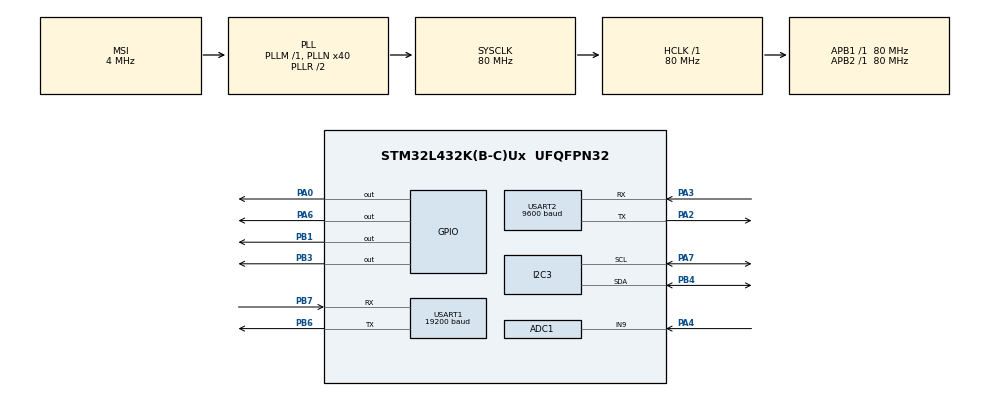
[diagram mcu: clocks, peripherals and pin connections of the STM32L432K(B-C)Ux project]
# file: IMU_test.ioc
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ADC1.Channel-0\#ChannelRegularConversion=ADC_CHANNEL_9
ADC1.NbrOfConversionFlag=1
ADC1.OffsetNumber-0\#ChannelRegularConversion=ADC_OFFSET_NONE
ADC1.Rank-0\#ChannelRegularConversion=1
ADC1.SamplingTime-0\#ChannelRegularConversion=ADC_SAMPLETIME_2CYCLES_5
ADC1.master=1
I2C3.Timing=0x10909CEC
Mcu.Family=STM32L4
Mcu.Name=STM32L432K(B-C)Ux
Mcu.Package=UFQFPN32
NVIC.PriorityGroup=NVIC_PRIORITYGROUP_4
PA0.Signal=GPIO_Output
PA13\ (JTMS-SWDIO).Mode=Serial_Wire
PA13\ (JTMS-SWDIO).Signal=SYS_JTMS-SWDIO
PA14\ (JTCK-SWCLK).Mode=Serial_Wire
PA14\ (JTCK-SWCLK).Signal=SYS_JTCK-SWCLK
PA2.Mode=Asynchronous
PA2.Signal=USART2_TX
PA3.Mode=Asynchronous
PA3.Signal=USART2_RX
PA4.Signal=ADCx_IN9
PA6.Signal=GPIO_Output
PA7.Mode=I2C
PA7.Signal=I2C3_SCL
PB1.Signal=GPIO_Output
PB3\ (JTDO-TRACESWO).Signal=GPIO_Output
PB4\ (NJTRST).Mode=I2C
PB4\ (NJTRST).Signal=I2C3_SDA
PB6.Mode=Asynchronous
PB6.Signal=USART1_TX
PB7.Mode=Asynchronous
PB7.Signal=USART1_RX
PC14-OSC32_IN\ (PC14).Mode=LSE-External-Oscillator
PC14-OSC32_IN\ (PC14).Signal=RCC_OSC32_IN
PC15-OSC32_OUT\ (PC15).Mode=LSE-External-Oscillator
PC15-OSC32_OUT\ (PC15).Signal=RCC_OSC32_OUT
ProjectManager.HeapSize=0x200
ProjectManager.StackSize=0x400
ProjectManager.TargetToolchain=MDK-ARM V5
RCC.ADCFreq_Value=32000000
RCC.AHBFreq_Value=80000000
RCC.APB1Freq_Value=80000000
RCC.APB1TimFreq_Value=80000000
RCC.APB2Freq_Value=80000000
RCC.APB2TimFreq_Value=80000000
RCC.CortexFreq_Value=80000000
RCC.HCLKFreq_Value=80000000
RCC.HSE_VALUE=8000000
RCC.HSI48_VALUE=48000000
RCC.HSI_VALUE=16000000
RCC.MSI_VALUE=4000000
RCC.PLLN=40
RCC.PLLSAI1N=16
RCC.SYSCLKFreq_VALUE=80000000
RCC.SYSCLKSource=RCC_SYSCLKSOURCE_PLLCLK
RCC.USBFreq_Value=32000000
RCC.VCOOutputFreq_Value=160000000
SH.ADCx_IN9.0=ADC1_IN9,IN9-Single-Ended
USART1.BaudRate=19200
USART1.VirtualMode-Asynchronous=VM_ASYNC
USART2.BaudRate=9600
USART2.VirtualMode-Asynchronous=VM_ASYNC
board=custom

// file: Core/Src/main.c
/* USER CODE BEGIN Header */
/**
  ******************************************************************************
  * @file           : main.c
  * @brief          : Main program body
  ******************************************************************************
  * @attention
  *
  * <h2><center>&copy; Copyright (c) 2021 STMicroelectronics.
  * All rights reserved.</center></h2>
  *
  * This software component is licensed by ST under BSD 3-Clause license,
  * the "License"; You may not use this file except in compliance with the
  * License. You may obtain a copy of the License at:
  *                        opensource.org/licenses/BSD-3-Clause
  *
  ******************************************************************************
  */
/* USER CODE END Header */
#include "main.h"
#include "adc.h"
#include "i2c.h"
#include "usart.h"
#include "gpio.h"

/* USER CODE BEGIN Includes */
#include "bno055_stm32.h" //ADD THE PATH FOR THIS FILE IN THE "INCLUDES" FROM THE "OPTIONS FOR TARGET" ICON
//ALSO ADD THE FILE "bno055.c" TO THE TARGET FILES "Application/user/core" LIKE WHEN ADDING A NEW CPP FILE

/* USER CODE END Includes */

/* USER CODE BEGIN PV */

uint8_t endl[2] ={'\r' , '\n'};
uint16_t raw, flex;
char msg[10];
char disp1[64];
char disp2[64];
uint8_t arr[4]={0xC2, 0x32, 0xCA, 0x32};
double roll, pitch;

/* USER CODE END PV */

void SystemClock_Config(void);
/* USER CODE BEGIN PFP */
uint16_t read_flex();
bno055_vector_t read_imu();

/* USER CODE END PFP */

/* USER CODE BEGIN 0 */

uint16_t read_flex()
{
		// Test: Set GPIO pin high
    HAL_GPIO_WritePin(GPIOA, GPIO_PIN_4, GPIO_PIN_SET);

    // Get ADC value
    HAL_ADC_Start(&hadc1);
    HAL_ADC_PollForConversion(&hadc1, HAL_MAX_DELAY);
    raw = HAL_ADC_GetValue(&hadc1);

    // Test: Set GPIO pin low
    HAL_GPIO_WritePin(GPIOA, GPIO_PIN_4, GPIO_PIN_RESET);

    // Convert to string and print
    snprintf(msg, sizeof(msg), "%d", raw);
    HAL_UART_Transmit(&huart2, (unsigned char *)msg, sizeof(msg), HAL_MAX_DELAY);
		HAL_UART_Transmit(&huart2, (unsigned char *)endl, 2, HAL_MAX_DELAY);
		return raw;
}

bno055_vector_t read_imu()
{
	bno055_vector_t c = bno055_getVectorEuler();
  snprintf(disp1, sizeof(disp1), "Heading: %.2f Roll: %.2f Pitch: %.2f\r\n", c.x, c.y, c.z);
	HAL_UART_Transmit(&huart2, (uint8_t*)disp1, sizeof(disp1), HAL_MAX_DELAY);
	HAL_UART_Transmit(&huart2, (unsigned char *)endl, 2, HAL_MAX_DELAY);
	return c;
}

/* USER CODE END 0 */

int main(void)
{

  /* MCU Configuration--------------------------------------------------------*/

  /* Reset of all peripherals, Initializes the Flash interface and the Systick. */
  HAL_Init();

  /* Configure the system clock */
  SystemClock_Config();

  /* Initialize all configured peripherals */
  MX_GPIO_Init();
  MX_USART2_UART_Init();
  MX_ADC1_Init();
  MX_USART1_UART_Init();
  MX_I2C3_Init();

  /* USER CODE BEGIN 2 */
	bno055_assignI2C(&hi2c3);
  bno055_setup();
  bno055_setOperationModeNDOF();
  /* USER CODE END 2 */

  /* Infinite loop */
  /* USER CODE BEGIN WHILE */
  while (1)
  {
		flex = read_flex();
		bno055_vector_t v = read_imu();
		roll = v.y;
    pitch = v.z;
		if (flex<2000)
		{
			if (v.y>5)  //going forward
			{
				HAL_GPIO_TogglePin(GPIOA, GPIO_PIN_0);
				HAL_Delay(v.y*2);
				HAL_GPIO_TogglePin(GPIOA, GPIO_PIN_0);
				snprintf(disp2, sizeof(disp2), "FRONT");
				arr[0]=0xC2;
				arr[2]=0xCA;
				arr[1]=(roll/180.0)*127;
				arr[3]=(roll/180.0)*127;
				HAL_UART_Transmit (&huart1, arr, 4,HAL_MAX_DELAY);
				HAL_Delay(200);
				HAL_UART_Transmit(&huart2, (uint8_t*)disp2, sizeof(disp2), HAL_MAX_DELAY);
				HAL_UART_Transmit(&huart2, (unsigned char *)endl, 2, HAL_MAX_DELAY);

			}
			if (v.y<-5)  //going backwards
			{
				HAL_GPIO_TogglePin(GPIOB, GPIO_PIN_3);
				HAL_Delay(v.y*2);
				HAL_GPIO_TogglePin(GPIOB, GPIO_PIN_3);
				snprintf(disp2, sizeof(disp2), "BACK");
				arr[0]=0xC1;
				arr[2]=0xC9;
				arr[1]=(-roll/180.0)*127;
				arr[3]=(-roll/180.0)*127;
				HAL_UART_Transmit (&huart1, arr, 4,HAL_MAX_DELAY);
				HAL_Delay(200);
				HAL_UART_Transmit(&huart2, (uint8_t*)disp2, sizeof(disp2), HAL_MAX_DELAY);
				HAL_UART_Transmit(&huart2, (unsigned char *)endl, 2, HAL_MAX_DELAY);
				//HAL_Delay(200);
			}
			if (v.z>5)  //right turn
			{
				HAL_GPIO_TogglePin(GPIOB, GPIO_PIN_1);
				HAL_Delay(v.z*2);
				HAL_GPIO_TogglePin(GPIOB, GPIO_PIN_1);
				snprintf(disp2, sizeof(disp2), "RIGHT");
				arr[1]=0x00;
				arr[3]=pitch;
				HAL_UART_Transmit (&huart1, arr, 4,HAL_MAX_DELAY);
				HAL_Delay(200);
				HAL_UART_Transmit(&huart2, (uint8_t*)disp2, sizeof(disp2), HAL_MAX_DELAY);
				HAL_UART_Transmit(&huart2, (unsigned char *)endl, 2, HAL_MAX_DELAY);
				//HAL_Delay(200);
			}
			if (v.z<-5)  //left turn
			{
				HAL_GPIO_TogglePin(GPIOA, GPIO_PIN_6);
				HAL_Delay(v.z*2);
				HAL_GPIO_TogglePin(GPIOA, GPIO_PIN_6);
				snprintf(disp2, sizeof(disp2), "LEFT");
				arr[1]=pitch;
				arr[3]=0x00;
				HAL_UART_Transmit (&huart1, arr, 4,HAL_MAX_DELAY);
				HAL_Delay(200);
				HAL_UART_Transmit(&huart2, (uint8_t*)disp2, sizeof(disp2), HAL_MAX_DELAY);
				HAL_UART_Transmit(&huart2, (unsigned char *)endl, 2, HAL_MAX_DELAY);
				//HAL_Delay(200);
			}
		}
		else
		{
			snprintf(disp2, sizeof(disp2), "STOP");
			arr[1]=0x00;
      arr[3]=0x00;
      HAL_UART_Transmit (&huart1, arr, 4,HAL_MAX_DELAY);
			HAL_Delay(200);
			HAL_UART_Transmit(&huart2, (uint8_t*)disp2, sizeof(disp2), HAL_MAX_DELAY);
			HAL_UART_Transmit(&huart2, (unsigned char *)endl, 2, HAL_MAX_DELAY);
			//HAL_Delay(200);
		}

    /* USER CODE END WHILE */

    /* USER CODE BEGIN 3 */
  }

	//COMMENTED LOCALISATION CODE

	//    v = bno055_getVectorQuaternion();
//    snprintf(disp2, sizeof(disp2), "W: %.2f X: %.2f Y: %.2f Z: %.2f\r\n", v.w, v.x, v.y, v.z);
//		HAL_UART_Transmit(&huart2, (uint8_t*)disp2, sizeof(disp2), HAL_MAX_DELAY);
//		HAL_UART_Transmit(&huart2, (unsigned char *)endl, 2, HAL_MAX_DELAY);
  /* USER CODE END 3 */
}

void SystemClock_Config(void)
{
  RCC_OscInitTypeDef RCC_OscInitStruct = {0};
  RCC_ClkInitTypeDef RCC_ClkInitStruct = {0};
  RCC_PeriphCLKInitTypeDef PeriphClkInit = {0};

  /** Configure LSE Drive Capability
  */
  HAL_PWR_EnableBkUpAccess();
  __HAL_RCC_LSEDRIVE_CONFIG(RCC_LSEDRIVE_LOW);
  /** Initializes the RCC Oscillators according to the specified parameters
  * in the RCC_OscInitTypeDef structure.
  */
  RCC_OscInitStruct.OscillatorType = RCC_OSCILLATORTYPE_LSE|RCC_OSCILLATORTYPE_MSI;
  RCC_OscInitStruct.LSEState = RCC_LSE_ON;
  RCC_OscInitStruct.MSIState = RCC_MSI_ON;
  RCC_OscInitStruct.MSICalibrationValue = 0;
  RCC_OscInitStruct.MSIClockRange = RCC_MSIRANGE_6;
  RCC_OscInitStruct.PLL.PLLState = RCC_PLL_ON;
  RCC_OscInitStruct.PLL.PLLSource = RCC_PLLSOURCE_MSI;
  RCC_OscInitStruct.PLL.PLLM = 1;
  RCC_OscInitStruct.PLL.PLLN = 40;
  RCC_OscInitStruct.PLL.PLLP = RCC_PLLP_DIV7;
  RCC_OscInitStruct.PLL.PLLQ = RCC_PLLQ_DIV2;
  RCC_OscInitStruct.PLL.PLLR = RCC_PLLR_DIV2;
  if (HAL_RCC_OscConfig(&RCC_OscInitStruct) != HAL_OK)
  {
    Error_Handler();
  }
  /** Initializes the CPU, AHB and APB buses clocks
  */
  RCC_ClkInitStruct.ClockType = RCC_CLOCKTYPE_HCLK|RCC_CLOCKTYPE_SYSCLK
                              |RCC_CLOCKTYPE_PCLK1|RCC_CLOCKTYPE_PCLK2;
  RCC_ClkInitStruct.SYSCLKSource = RCC_SYSCLKSOURCE_PLLCLK;
  RCC_ClkInitStruct.AHBCLKDivider = RCC_SYSCLK_DIV1;
  RCC_ClkInitStruct.APB1CLKDivider = RCC_HCLK_DIV1;
  RCC_ClkInitStruct.APB2CLKDivider = RCC_HCLK_DIV1;

  if (HAL_RCC_ClockConfig(&RCC_ClkInitStruct, FLASH_LATENCY_4) != HAL_OK)
  {
    Error_Handler();
  }
  PeriphClkInit.PeriphClockSelection = RCC_PERIPHCLK_USART1|RCC_PERIPHCLK_USART2
                              |RCC_PERIPHCLK_I2C3|RCC_PERIPHCLK_ADC;
  PeriphClkInit.Usart1ClockSelection = RCC_USART1CLKSOURCE_PCLK2;
  PeriphClkInit.Usart2ClockSelection = RCC_USART2CLKSOURCE_PCLK1;
  PeriphClkInit.I2c3ClockSelection = RCC_I2C3CLKSOURCE_PCLK1;
  PeriphClkInit.AdcClockSelection = RCC_ADCCLKSOURCE_PLLSAI1;
  PeriphClkInit.PLLSAI1.PLLSAI1Source = RCC_PLLSOURCE_MSI;
  PeriphClkInit.PLLSAI1.PLLSAI1M = 1;
  PeriphClkInit.PLLSAI1.PLLSAI1N = 16;
  PeriphClkInit.PLLSAI1.PLLSAI1P = RCC_PLLP_DIV7;
  PeriphClkInit.PLLSAI1.PLLSAI1Q = RCC_PLLQ_DIV2;
  PeriphClkInit.PLLSAI1.PLLSAI1R = RCC_PLLR_DIV2;
  PeriphClkInit.PLLSAI1.PLLSAI1ClockOut = RCC_PLLSAI1_ADC1CLK;
  if (HAL_RCCEx_PeriphCLKConfig(&PeriphClkInit) != HAL_OK)
  {
    Error_Handler();
  }
  /** Configure the main internal regulator output voltage
  */
  if (HAL_PWREx_ControlVoltageScaling(PWR_REGULATOR_VOLTAGE_SCALE1) != HAL_OK)
  {
    Error_Handler();
  }
  /** Enable MSI Auto calibration
  */
  HAL_RCCEx_EnableMSIPLLMode();
}

void Error_Handler(void)
{
  __disable_irq();
  while (1)
  {
  }
}

/************************ (C) COPYRIGHT STMicroelectronics *****END OF FILE****/
